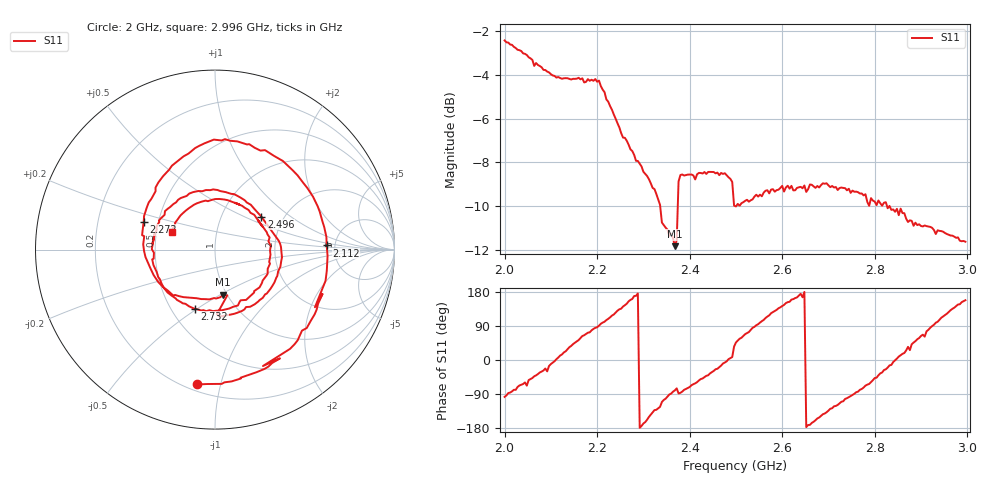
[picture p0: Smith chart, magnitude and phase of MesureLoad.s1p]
# MHz S MA R 50.0
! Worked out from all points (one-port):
!   250 points, 2 GHz to 2.996 GHz, reference 50 ohm
!   lowest |S11| = -11.8 dB at 2.368 GHz (marker M1), VSWR 1.69, Z = 47.8 - j25.8 ohm
!   |S11| at or under -10 dB: 2.336 GHz to 2.374 GHz (38.1 MHz wide, 1.62 % of centre); 2.497693 GHz to 2.500764 GHz (3.071 MHz wide, 0.123 % of centre); 2.832 GHz to end of sweep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
!   S11 on the Smith chart (normalised r, x): 2 GHz: 0.24, -0.85; 2.112 GHz: 4.27, +0.32; 2.272 GHz: 0.41, +0.16; 2.496 GHz: 1.54, +0.63; 2.732 GHz: 0.65, -0.49; 2.996 GHz: 0.60, +0.13
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2000  0.7575 -97.4
2032  0.7196 -67.3
2048  0.7015 -67.6
2052  0.6932 -52.9
2088  0.6481 -22.4
2092  0.6428 -30.0
2112  0.6227 2.1
2128  0.6205 19.9
2168  0.6203 63.3
2196  0.618 84.9
2252  0.4642 135.5
2272  0.4264 158.7
2324  0.3456 -132.2
2368  0.2558 -80.1
2376  0.3599 -88.3
2440  0.3784 -40.3
2492  0.3589 7.8
2496  0.3168 35.5
2500  0.3154 46.1
2560  0.3393 105.7
2624  0.3434 160.6
2664  0.3536 -166.0
2732  0.3478 -108.9
2748  0.3389 -95.2
2820  0.3216 -26.5
2872  0.2906 34.7
2924  0.2818 89.4
2996  0.2618 157.7
